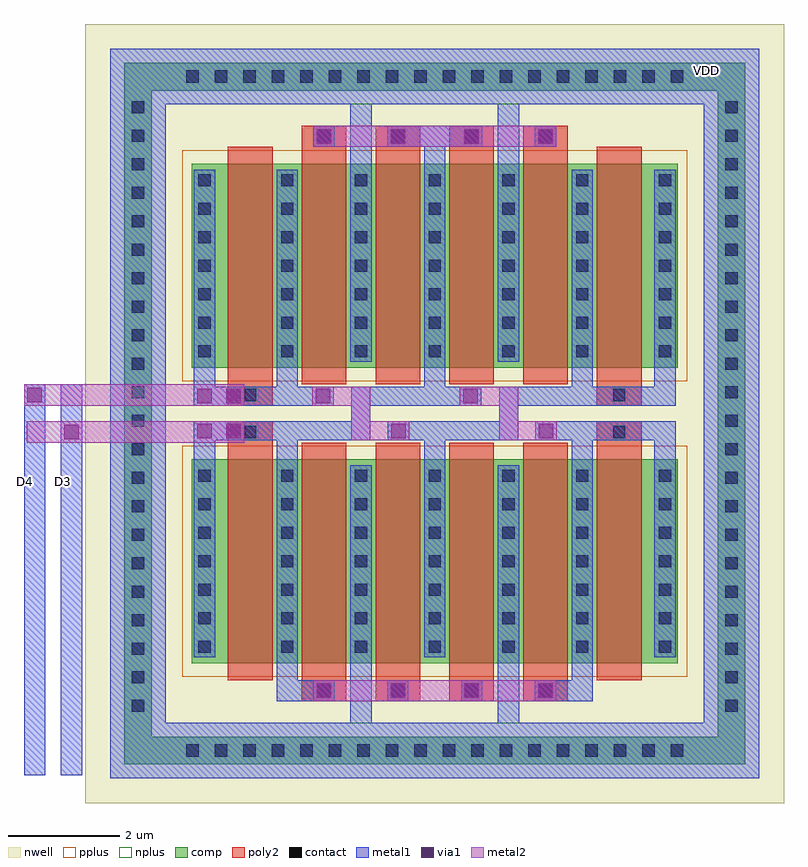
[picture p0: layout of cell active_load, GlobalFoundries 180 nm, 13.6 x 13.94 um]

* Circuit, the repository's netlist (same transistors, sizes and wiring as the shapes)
** sch_path: /foss/designs/creactive-chipathon-2025/designs/libs/core_ota/active_load/active_load.sch
.subckt active_load D3 D4 VDD
*.PININFO VDD:B D3:O D4:O
M3 D3 D3 VDD VDD pfet_03v3 L=0.8u W=3.65u nf=1 m=4
M4 D4 D3 VDD VDD pfet_03v3 L=0.8u W=3.65u nf=1 m=4
M1 D3 D3 D3 VDD pfet_03v3 L=0.8u W=3.65u nf=1 m=2
M2 D4 D4 D4 VDD pfet_03v3 L=0.8u W=3.65u nf=1 m=2
.ends

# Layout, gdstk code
import gdstk
lib = gdstk.Library(unit=1e-6, precision=5e-09)
def R(c, l, rs):  # rectangles x0, y0, x1, y1
    for r in rs: c.add(gdstk.rectangle(r[:2], r[2:], *l))
def A(c, l, x, y, w, h, nx, ny, dx, dy):  # array of equal rectangles
    R(c, l, [(x+i*dx, y+j*dy, x+i*dx+w, y+j*dy+h) for i in range(nx) for j in range(ny)])
nwell = (21, 0)
comp = (22, 0)
poly2 = (30, 0)
pplus = (31, 0)
nplus = (32, 0)
contact = (33, 0)
metal1 = (34, 0)
via1 = (35, 0)
metal2 = (36, 0)

pmos_6 = lib.new_cell('pmos_6')
R(pmos_6, comp, [(0.455,0.68,0.915,4.33), (0.915,0.68,8.695,4.33), (8.695,0.68,9.155,4.33)])
A(pmos_6, poly2, 1.105, 0.38, 0.8, 4.25, 6, 1, 1.32, 0)
A(pmos_6, poly2, 2.425, 4.63, 0.8, 0.38, 4, 1, 1.32, 0)
R(pmos_6, poly2, [(1.105,0,1.905,0.38), (7.705,0,8.505,0.38)])
R(pmos_6, pplus, [(0.285,0.44,9.325,4.57)])
A(pmos_6, contact, 0.575, 0.865, 0.22, 0.22, 1, 7, 0, 0.51)
A(pmos_6, contact, 2.055, 0.865, 0.22, 0.22, 5, 7, 1.32, 0.51)
A(pmos_6, contact, 8.815, 0.865, 0.22, 0.22, 1, 7, 0, 0.51)
A(pmos_6, contact, 2.715, 4.71, 0.22, 0.22, 4, 1, 1.32, 0)
R(pmos_6, contact, [(1.395,0.08,1.615,0.3), (7.995,0.08,8.215,0.3)])
A(pmos_6, metal1, 1.975, 0.785, 0.38, 3.44, 5, 1, 1.32, 0)
A(pmos_6, metal1, 2.635, 4.63, 0.38, 0.38, 4, 1, 1.32, 0)
R(pmos_6, metal1, [(1.315,0,1.695,0.34), (7.915,0,8.295,0.34), (0.495,0.785,0.875,4.225), (8.735,0.785,9.115,4.225)])
A(pmos_6, via1, 2.695, 4.69, 0.26, 0.26, 4, 1, 1.32, 0)
pmos_6.add(gdstk.FlexPath([(7.445,0.785),(7.445,0.34)], 0.38, ends="flush", simple_path=True, layer=34, datatype=0))  # metal1
pmos_6.add(gdstk.FlexPath([(8.925,0.785),(8.925,0.34)], 0.38, ends="flush", simple_path=True, layer=34, datatype=0))  # metal1
pmos_6.add(gdstk.FlexPath([(4.805,0.785),(4.805,0.34)], 0.38, ends="flush", simple_path=True, layer=34, datatype=0))  # metal1
pmos_6.add(gdstk.FlexPath([(2.165,0.785),(2.165,0.34)], 0.38, ends="flush", simple_path=True, layer=34, datatype=0))  # metal1
pmos_6.add(gdstk.FlexPath([(0.685,0.785),(0.685,0.34)], 0.38, ends="flush", simple_path=True, layer=34, datatype=0))  # metal1
pmos_6.add(gdstk.FlexPath([(6.975,4.82),(2.635,4.82)], 0.38, ends="flush", simple_path=True, layer=36, datatype=0))  # metal2

active_load = lib.new_cell('active_load')
R(active_load, nwell, [(1.1,-0.44,13.6,13.5)])
A(active_load, contact, 2.905, 0.39, 0.22, 0.22, 18, 2, 0.51, 12.06)
A(active_load, contact, 1.93, 1.19, 0.22, 0.22, 1, 22, 0, 0.51)
A(active_load, contact, 12.55, 1.19, 0.22, 0.22, 1, 22, 0, 0.51)
R(active_load, via1, [(0.72,6.07,0.98,6.33), (3.1,6.09,3.36,6.35), (3.62,6.09,3.88,6.35), (6.57,6.09,6.83,6.35), (9.21,6.09,9.47,6.35), (3.1,6.71,3.36,6.97), (3.62,6.71,3.88,6.97), (5.22,6.71,5.48,6.97), (7.86,6.71,8.12,6.97), (0.06,6.73,0.32,6.99)])
active_load.add(gdstk.FlexPath([(6.51,6.22),(8.67,6.22),(8.67,6.84),(11.66,6.84)], 0.34, ends="flush", simple_path=True, layer=34, datatype=0))  # metal1
active_load.add(gdstk.FlexPath([(3.04,6.22),(6.03,6.22),(6.03,6.84),(8.18,6.84)], 0.34, ends="flush", simple_path=True, layer=34, datatype=0))  # metal1
active_load.add(gdstk.FlexPath([(4.71,2.165),(4.71,1.57),(5.18,1.57)], 0.38, ends="flush", simple_path=True, layer=34, datatype=0))  # metal1
active_load.add(gdstk.FlexPath([(9.99,2.165),(9.99,1.57),(9.52,1.57)], 0.38, ends="flush", simple_path=True, layer=34, datatype=0))  # metal1
active_load.add(gdstk.FlexPath([(7.35,10.895),(7.35,11.3)], 0.38, ends="flush", simple_path=True, layer=34, datatype=0))  # metal1
active_load.add(gdstk.FlexPath([(6.88,11.49),(7.82,11.49)], 0.38, ends="flush", simple_path=True, layer=34, datatype=0))  # metal1
active_load.add(gdstk.FlexPath([(12.16,12.56),(2.04,12.56),(2.04,0.5),(12.66,0.5),(12.66,13.06)], 1, ends="flush", simple_path=True, layer=34, datatype=0))  # metal1
active_load.add(gdstk.FlexPath([(0.19,7.05),(0.19,0.06)], 0.38, ends="flush", simple_path=True, layer=34, datatype=0))  # metal1
active_load.add(gdstk.FlexPath([(5.54,6.84),(3.04,6.84)], 0.34, ends="flush", simple_path=True, layer=34, datatype=0))  # metal1
active_load.add(gdstk.FlexPath([(11.66,6.22),(9.15,6.22)], 0.34, ends="flush", simple_path=True, layer=34, datatype=0))  # metal1
active_load.add(gdstk.FlexPath([(0.85,7.05),(0.85,0.06)], 0.38, ends="flush", simple_path=True, layer=34, datatype=0))  # metal1
active_load.add(gdstk.FlexPath([(8.67,2.165),(8.67,1)], 0.38, ends="flush", simple_path=True, layer=34, datatype=0))  # metal1
active_load.add(gdstk.FlexPath([(6.03,2.165),(6.03,1)], 0.38, ends="flush", simple_path=True, layer=34, datatype=0))  # metal1
active_load.add(gdstk.FlexPath([(8.67,12.06),(8.67,10.895)], 0.38, ends="flush", simple_path=True, layer=34, datatype=0))  # metal1
active_load.add(gdstk.FlexPath([(6.03,12.06),(6.03,10.895)], 0.38, ends="flush", simple_path=True, layer=34, datatype=0))  # metal1
active_load.add(gdstk.FlexPath([(12.41,12.56),(2.04,12.56),(2.04,0.5),(12.66,0.5),(12.66,12.81)], 0.5, ends="flush", simple_path=True, layer=22, datatype=0))  # comp
active_load.add(gdstk.FlexPath([(9.53,6.22),(8.67,6.22),(8.67,6.84),(7.8,6.84)], 0.34, ends="flush", simple_path=True, layer=36, datatype=0))  # metal2
active_load.add(gdstk.FlexPath([(6.89,6.22),(6.03,6.22),(6.03,6.84),(5.16,6.84)], 0.34, ends="flush", simple_path=True, layer=36, datatype=0))  # metal2
active_load.add(gdstk.FlexPath([(0,6.86),(3.94,6.86)], 0.38, ends="flush", simple_path=True, layer=36, datatype=0))  # metal2
active_load.add(gdstk.FlexPath([(0.05,6.2),(3.94,6.2)], 0.38, ends="flush", simple_path=True, layer=36, datatype=0))  # metal2
active_load.add(gdstk.FlexPath([(12.16,12.56),(2.04,12.56),(2.04,0.5),(12.66,0.5),(12.66,13.06)], 1, ends="flush", simple_path=True, layer=32, datatype=0))  # nplus
active_load.add(gdstk.Reference(pmos_6, (2.545,6.39), x_reflection=True))
active_load.add(gdstk.Reference(pmos_6, (2.545,6.67)))
active_load.add(gdstk.Label('D3', (0.71,5.305), layer=34, texttype=10))
active_load.add(gdstk.Label('D4', (0.035,5.32), layer=34, texttype=10))
active_load.add(gdstk.Label('VDD', (12.21,12.66), layer=34, texttype=10))

lib.write_gds('active_load.gds')
